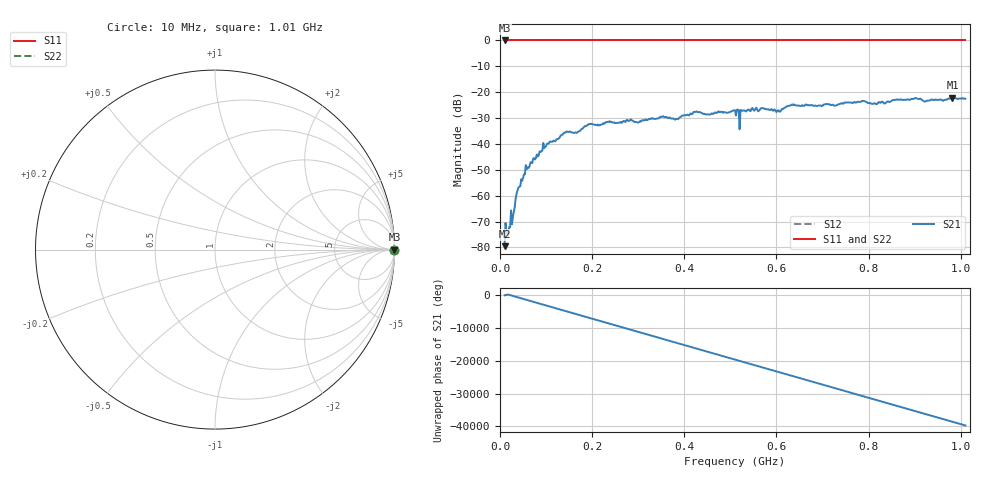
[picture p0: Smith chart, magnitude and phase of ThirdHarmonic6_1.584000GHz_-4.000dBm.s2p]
! 8/16/2025 6:51:17 PM
! C:\ANRITSUVNA\TEMP\TEMP.S2P
! CHANNEL.1
! TR.MEASUREMENT
! RAW.DATA
! RF.CORRECTION.OFF
! AVERAGING.OFF
! IF.BANDWIDTH: 5KHZ
! SWEEPTYPE:  FREQ.SWEEP(Linear)
! Reference Plane Port Info
! PORT:  PORT1  PORT2
! DISTANCE:  0  m  0  m
! TIME:  0  s  0  s
! PHASE.OFFSET:  0  deg.  0  deg.
! LOSS:  0  dB  0  dB
! REF.LOSS:  0  dB  0  dB
! REF.FREQ:  0  Hz  0  Hz
! Power Info
! POWER:  -20  dBm  -20  dBm
! EFF.POWER:  -20  dBm  -20  dBm
! SOURCE.ATTEN:  0  dB  0  dB
! TEST.ATTEN:  0  dB  0  dB
# GHZ S RI R 50.0
! FREQ.GHZ  S11RE  S11IM  S21RE  S21IM  S12RE  S12IM  S22RE  S22IM
!; PortSelection: Port_12
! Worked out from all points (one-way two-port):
!   501 points, 10 MHz to 1.01 GHz, reference 50 ohm
!   highest |S21| = -22.13 dB at 982 MHz (marker M1); lowest = -79.5 dB at 10 MHz (marker M2)
!   lowest |S11| = 0.0 dB at 10 MHz (marker M3)
!   |S11| at or under -10 dB: nowhere
!   |S22| runs from 0.0 to 0.0 dB; largest |S21 - S12| = 1.1
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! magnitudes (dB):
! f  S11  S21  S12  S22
! 10 MHz  0.0  -79.5  0.0  0.0
! 18 MHz  0.0  -75.5  0.0  0.0
! 30 MHz  0.0  -66.2  0.0  0.0
! 38 MHz  0.0  -58.0  0.0  0.0
! 60 MHz  0.0  -49.0  0.0  0.0
! 106 MHz  0.0  -39.8  0.0  0.0
! 142 MHz  0.0  -35.6  0.0  0.0
! 178 MHz  0.0  -34.1  0.0  0.0
! 196 MHz  0.0  -32.3  0.0  0.0
! 344 MHz  0.0  -30.1  0.0  0.0
! 384 MHz  0.0  -30.3  0.0  0.0
! 424 MHz  0.0  -27.6  0.0  0.0
! 510 MHz  0.0  -27.0  0.0  0.0
! 516 MHz  0.0  -26.7  0.0  0.0
! 524 MHz  0.0  -27.0  0.0  0.0
! 526 MHz  0.0  -27.2  0.0  0.0
! 604 MHz  0.0  -27.0  0.0  0.0
! 634 MHz  0.0  -24.7  0.0  0.0
! 678 MHz  0.0  -25.1  0.0  0.0
! 844 MHz  0.0  -23.7  0.0  0.0
! 982 MHz  0.0  -22.1  0.0  0.0
! 1.01 GHz  0.0  -22.5  0.0  0.0
